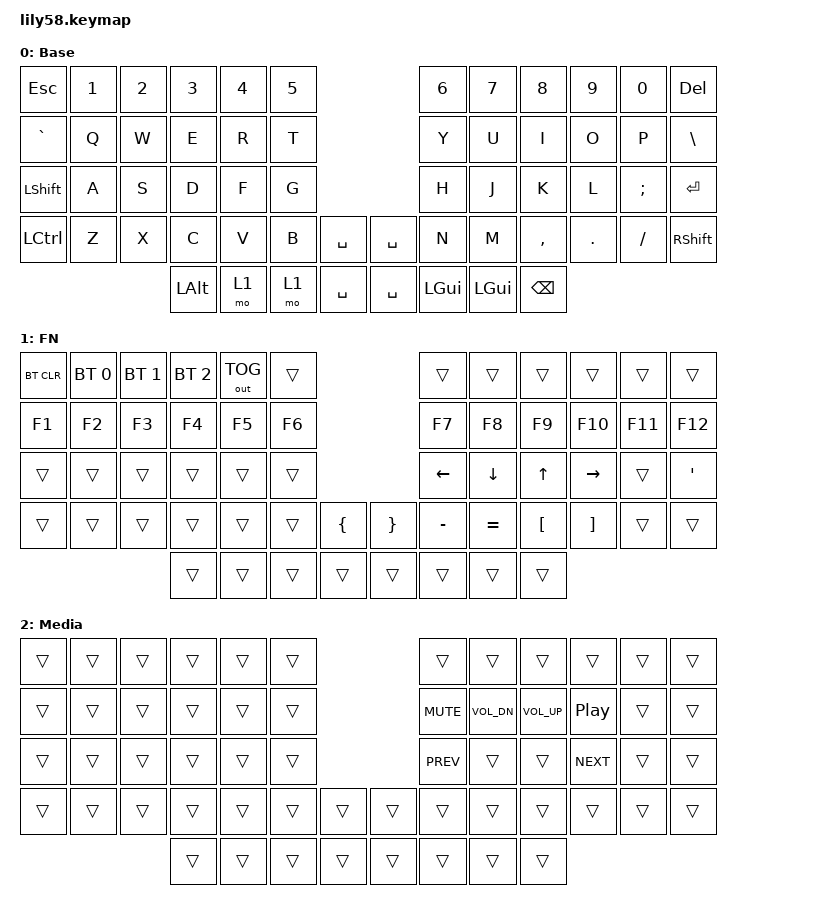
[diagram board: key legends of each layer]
/*
 * Lily58 Custom Keymap for SuperMini NRF52840 (nice!nano v2 compatible)
 */

#include <behaviors.dtsi>
#include <dt-bindings/zmk/keys.h>
#include <dt-bindings/zmk/bt.h>
#include <dt-bindings/zmk/outputs.h>
#include <dt-bindings/zmk/ext_power.h>

/ {
    keymap {
        compatible = "zmk,keymap";

        default_layer {
            display-name = "Base";
// ------------------------------------------------------------------------------------------------------------
// |  ESC  |  1  |  2  |  3   |  4   |  5   |                   |  6   |  7    |  8    |  9   |   0   |  DEL  |
// |   ~   |  Q  |  W  |  E   |  R   |  T   |                   |  Y   |  U    |  I    |  O   |   P   |   \   |
// | SHIFT |  A  |  S  |  D   |  F   |  G   |                   |  H   |  J    |  K    |  L   |   ;   | ENTER | (Totoro ali)
// |  CTRL |  Z  |  X  |  C   |  V   |  B   | SPACE  |  | SPACE |  N   |  M    |  ,    |  .   |   /   | SHIFT | (Totoro verde)
//                     | ALT  |  FN  |  FN  |  SPACE |  | SPACE | CMD  |  CMD  | BSPC  |
//                                          (Polvere)|  |(SenzaV)| (Mei) | (Mei) |(Totoro)
            bindings = <
&kp ESC   &kp N1 &kp N2 &kp N3   &kp N4   &kp N5                      &kp N6    &kp N7   &kp N8    &kp N9  &kp N0   &kp DEL
&kp GRAVE &kp Q  &kp W  &kp E    &kp R    &kp T                       &kp Y     &kp U    &kp I     &kp O   &kp P    &kp BSLH
&kp LSHFT &kp A  &kp S  &kp D    &kp F    &kp G                       &kp H     &kp J    &kp K     &kp L   &kp SEMI &kp RET
&kp LCTRL &kp Z  &kp X  &kp C    &kp V    &kp B  &kp SPACE  &kp SPACE &kp N     &kp M    &kp COMMA &kp DOT &kp FSLH &kp RSHFT
                        &kp LALT &mo 1    &mo 1  &kp SPACE  &kp SPACE &kp LGUI  &kp LGUI &kp BSPC
            >;
        };

        lower_layer {
            display-name = "FN";
// ------------------------------------------------------------------------------------------------------------
// | BT_CLR| BT1 | BT2 |  BT3 |OUT_TOG|     |                   |      |       |       |      |       |       |
// |  F1   |  F2 |  F3 |  F4  |  F5  |  F6  |                   |  F7  |  F8   |  F9   |  F10 |  F11  |  F12  |
// |       |     |     |      |      |      |                   | LEFT | DOWN  |  UP   | RIGHT|       |   '   |
// |       |     |     |      |      |      |   {    |  |   }   |  -   |  =    |  [    |  ]   |       |       |
//                     |      |      |      |        |  |       |      |       |       |
            bindings = <
&bt BT_CLR &bt BT_SEL 0 &bt BT_SEL 1 &bt BT_SEL 2 &out OUT_TOG &trans                     &trans    &trans    &trans    &trans    &trans    &trans
&kp F1     &kp F2       &kp F3       &kp F4       &kp F5       &kp F6                     &kp F7    &kp F8    &kp F9    &kp F10   &kp F11   &kp F12
&trans     &trans       &trans       &trans       &trans       &trans                     &kp LEFT  &kp DOWN  &kp UP    &kp RIGHT &trans    &kp SQT
&trans     &trans       &trans       &trans       &trans       &trans    &kp LBRC &kp RBRC &kp MINUS &kp EQUAL &kp LBKT  &kp RBKT  &trans    &trans
                                     &trans       &trans       &trans    &trans   &trans   &trans    &trans    &trans
            >;
        };

        raise_layer {
            display-name = "Media";
// ------------------------------------------------------------------------------------------------------------
// |       |     |     |      |      |      |                   |      |       |       |      |       |       |
// |       |     |     |      |      |      |                   | MUTE | VOL_DN| VOL_UP| PLAY |       |       |
// |       |     |     |      |      |      |                   | PREV |       |       | NEXT |       |       |
// |       |     |     |      |      |      |        |  |       |      |       |       |      |       |       |
//                     |      |      |      |        |  |       |      |       |       |
            bindings = <
&trans    &trans &trans &trans &trans &trans                 &trans     &trans       &trans       &trans   &trans &trans
&trans    &trans &trans &trans &trans &trans                 &kp C_MUTE &kp C_VOL_DN &kp C_VOL_UP &kp C_PP &trans &trans
&trans    &trans &trans &trans &trans &trans                 &kp C_PREV &trans       &trans       &kp C_NEXT &trans &trans
&trans    &trans &trans &trans &trans &trans &trans   &trans &trans     &trans       &trans       &trans   &trans &trans
                        &trans &trans &trans &trans   &trans &trans     &trans       &trans
            >;
        };
    };
};
